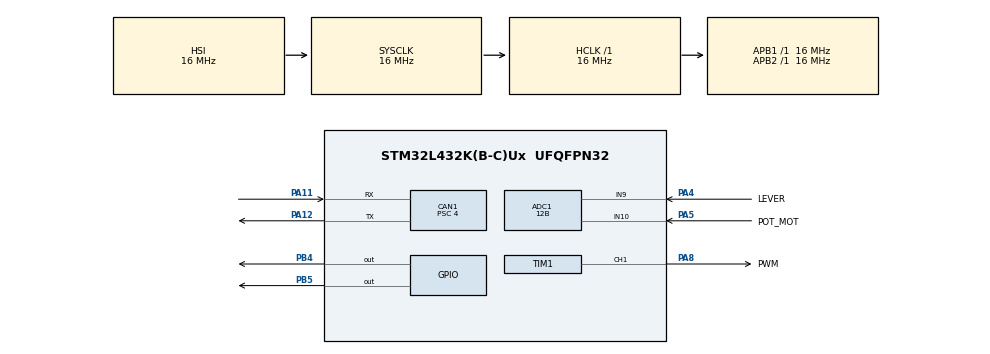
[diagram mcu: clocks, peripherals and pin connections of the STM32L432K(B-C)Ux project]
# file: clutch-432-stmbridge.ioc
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ADC1.Channel-0\#ChannelRegularConversion=ADC_CHANNEL_9
ADC1.Channel-1\#ChannelRegularConversion=ADC_CHANNEL_10
ADC1.ClockPrescaler=ADC_CLOCK_ASYNC_DIV16
ADC1.ContinuousConvMode=ENABLE
ADC1.DMAContinuousRequests=ENABLE
ADC1.DiscontinuousConvMode=DISABLE
ADC1.NbrOfConversion=2
ADC1.NbrOfConversionFlag=1
ADC1.OffsetNumber-0\#ChannelRegularConversion=ADC_OFFSET_NONE
ADC1.OffsetNumber-1\#ChannelRegularConversion=ADC_OFFSET_NONE
ADC1.Rank-0\#ChannelRegularConversion=1
ADC1.Rank-1\#ChannelRegularConversion=2
ADC1.Resolution=ADC_RESOLUTION_12B
ADC1.SamplingTime-0\#ChannelRegularConversion=ADC_SAMPLETIME_92CYCLES_5
ADC1.SamplingTime-1\#ChannelRegularConversion=ADC_SAMPLETIME_92CYCLES_5
ADC1.master=1
CAN1.BS1=CAN_BS1_2TQ
CAN1.CalculateBaudRate=1000000
CAN1.CalculateTimeBit=1000
CAN1.CalculateTimeQuantum=250.0
CAN1.Prescaler=4
Dma.ADC1.0.Direction=DMA_PERIPH_TO_MEMORY
Dma.ADC1.0.Instance=DMA1_Channel1
Dma.ADC1.0.MemDataAlignment=DMA_MDATAALIGN_HALFWORD
Dma.ADC1.0.MemInc=DMA_MINC_ENABLE
Dma.ADC1.0.Mode=DMA_CIRCULAR
Dma.ADC1.0.PeriphDataAlignment=DMA_PDATAALIGN_HALFWORD
Dma.ADC1.0.PeriphInc=DMA_PINC_DISABLE
Dma.ADC1.0.Priority=DMA_PRIORITY_LOW
Dma.Request0=ADC1
Mcu.Family=STM32L4
Mcu.Name=STM32L432K(B-C)Ux
Mcu.Package=UFQFPN32
NVIC.DMA1_Channel1_IRQn=true\:0\:0\:false\:false\:true\:false\:true\:true
NVIC.PriorityGroup=NVIC_PRIORITYGROUP_4
NVIC.TIM1_BRK_TIM15_IRQn=true\:0\:0\:false\:false\:true\:true\:true\:true
NVIC.TIM1_UP_TIM16_IRQn=true\:0\:0\:false\:false\:true\:true\:true\:true
NVIC.TIM7_IRQn=true\:0\:0\:false\:false\:true\:true\:true\:true
PA0.Mode=HSE-External-Clock-Source-for-LittleOrca
PA0.Signal=RCC_CK_IN
PA11.Mode=CAN_Activate
PA11.Signal=CAN1_RX
PA12.Mode=CAN_Activate
PA12.Signal=CAN1_TX
PA4.GPIO_Label=LEVER
PA4.Signal=ADCx_IN9
PA5.GPIO_Label=POT_MOT
PA5.Signal=ADCx_IN10
PA8.GPIO_Label=PWM
PA8.Signal=S_TIM1_CH1
PB4\ (NJTRST).Signal=GPIO_Output
PB5.Signal=GPIO_Output
ProjectManager.HeapSize=0x200
ProjectManager.StackSize=0x400
ProjectManager.TargetToolchain=STM32CubeIDE
RCC.ADCFreq_Value=32000000
RCC.AHBFreq_Value=16000000
RCC.APB1Freq_Value=16000000
RCC.APB1TimFreq_Value=16000000
RCC.APB2Freq_Value=16000000
RCC.APB2TimFreq_Value=16000000
RCC.CortexFreq_Value=16000000
RCC.HCLKFreq_Value=16000000
RCC.HSE_VALUE=8000000
RCC.HSI48_VALUE=48000000
RCC.HSI_VALUE=16000000
RCC.LSE_VALUE=32768
RCC.MSI_VALUE=4000000
RCC.PLLSAI1N=16
RCC.PLLSAI1R=RCC_PLLR_DIV8
RCC.PLLSourceVirtual=RCC_PLLSOURCE_HSI
RCC.SYSCLKFreq_VALUE=16000000
RCC.SYSCLKSource=RCC_SYSCLKSOURCE_HSI
RCC.USBFreq_Value=128000000
RCC.VCOOutputFreq_Value=128000000
SH.ADCx_IN10.0=ADC1_IN10,IN10-Single-Ended
SH.ADCx_IN9.0=ADC1_IN9,IN9-Single-Ended
SH.S_TIM1_CH1.0=TIM1_CH1,PWM Generation1 CH1
TIM1.Channel-PWM\ Generation1\ CH1=TIM_CHANNEL_1
TIM1.Period=100-1
TIM1.Prescaler=20-1
TIM1.Pulse-PWM\ Generation1\ CH1=50
TIM7.Period=10 - 1
TIM7.Prescaler=100 - 1
VP_TIM1_VS_ClockSourceINT.Mode=Internal
VP_TIM7_VS_ClockSourceINT.Mode=Enable_Timer
board=custom

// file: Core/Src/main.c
/* USER CODE BEGIN Header */
/**
  ******************************************************************************
  * @file           : main.c
  * @brief          : Main program body
  ******************************************************************************
  * @attention
  *
  * Copyright (c) 2022 STMicroelectronics.
  * All rights reserved.
  *
  * This software is licensed under terms that can be found in the LICENSE file
  * in the root directory of this software component.
  * If no LICENSE file comes with this software, it is provided AS-IS.
  *
  ******************************************************************************
  */
/* USER CODE END Header */
#include "main.h"

/* USER CODE BEGIN Includes */
#include <stdbool.h>
#include "mmr_can.h"
/* USER CODE END Includes */

/* USER CODE BEGIN PD */
#define POT 1
#define LEVER 0
#define CURRENT 2
/* USER CODE END PD */

 ADC_HandleTypeDef hadc1;
DMA_HandleTypeDef hdma_adc1;

CAN_HandleTypeDef hcan1;

TIM_HandleTypeDef htim1;
TIM_HandleTypeDef htim7;

void SystemClock_Config(void);
static void MX_GPIO_Init(void);
static void MX_DMA_Init(void);
static void MX_ADC1_Init(void);
static void MX_TIM1_Init(void);
static void MX_TIM7_Init(void);
static void MX_CAN1_Init(void);

/* USER CODE BEGIN 0 */
float lever;
float potMot;
float errorPos;
int delay;
int tick;
int releaseFlag;

bool engage = false;
DrivingMode mode = MANUAL;
//PID POSIZIONE
const PIDSaturation saturations1 = {
		min: -0.8f,
		max: 0.8f,
};

const PIDParameters parameters1 = {
	p: 7.53f * 3.0f * 3.0f,
	i: 8.6f * 3.0f,
	d: 1.4f * 1.5f,
};

PID pid1;

const float sampleTime = 1.0f / 80000.0f;
const float tau = 1.0f/14565.0f;

//CLUTCH
const ClutchIndexes indexes = {
	motorPotentiometer: POT,
	lever: LEVER,
	current: CURRENT,
};

Clutch clutch;
int s;
// ADC arrays
AdcValue ADC_values[BUFFER_LENGTH];
/* USER CODE END 0 */

int main(void)
{
  /* USER CODE BEGIN 1 */
	lever = 0;
	potMot = 0;
	errorPos = 0;
	tick = 0;
	releaseFlag = 0;
  /* USER CODE END 1 */

  /* MCU Configuration--------------------------------------------------------*/

  /* Reset of all peripherals, Initializes the Flash interface and the Systick. */
  HAL_Init();

  /* Configure the system clock */
  SystemClock_Config();

  /* Initialize all configured peripherals */
  MX_GPIO_Init();
  MX_DMA_Init();
  MX_ADC1_Init();
  MX_TIM1_Init();
  MX_TIM7_Init();
  MX_CAN1_Init();
  /* USER CODE BEGIN 2 */

  if (MMR_CAN_BasicSetupAndStart(&hcan1) != HAL_OK) {
    Error_Handler();
  }

  pid1 = PIDInit(
	  saturations1,
	  parameters1,
	  sampleTime,
	  tau
  );

  ClutchPID clutchPID = {
	  pid1: &pid1,
  };

  clutch = clutchInit(indexes, clutchPID, ADC_values);
  setDrivingMode(&clutch, mode);

  HAL_ADC_Start_DMA(&hadc1, (uint16_t *)ADC_values, BUFFER_LENGTH);

  HAL_TIM_Base_Start(&htim1); // TIM1 Start
  HAL_TIM_PWM_Start(&htim1, TIM_CHANNEL_1); // PWM Start on TIM1
  HAL_TIM_Base_Start_IT(&htim7); // PID Sampling timer start

  CanRxBuffer buffer = {};
  MmrCanMessage message = {
		  .store = buffer
  };
  uint32_t start = uwTick;

  //HAL_GPIO_WritePin(GPIOB, GPIO_PIN_1, GPIO_PIN_SET);
  /* USER CODE END 2 */

  /* Infinite loop */
  /* USER CODE BEGIN WHILE */
  while (1)
  {
	  /*uint8_t pendingMessages = HAL_CAN_GetRxFifoFillLevel(&hcan1, MMR_CAN_RX_FIFO);

	  if (pendingMessages <= 0) {
		  continue;
	  }

	  if (MMR_CAN_Receive(&hcan1, &message) != HAL_OK) {
		  ;
	  }

	  volatile int id = message.header.messageId;

	  continue;*/
    /* USER CODE END WHILE */

    /* USER CODE BEGIN 3 */

	  MmrCanPacket packetOpenClutch = {
			  .header.messageId = MMR_CAN_MESSAGE_ID_CS_CLUTCH_PULL_OK,
	  };

	  MmrCanPacket packetEngagedClutch = {
			  .header.messageId = MMR_CAN_MESSAGE_ID_CS_CLUTCH_RELEASE_OK,
	  };

	  /*
	  MmrCanPacket packetPulledLever = {
			  .header.messageId = MMR_CAN_MESSAGE_ID_CS_LEVER_PULLED,
	  };
	  */

	  if(clutch.measuredAngle < OPEN_CLUTCH_ANGLE + 0.1f && clutch.inProgress && !engage) {
		  if(clutch.mode == AUTONOMOUS) {
			  MMR_CAN_Send(&hcan1, packetOpenClutch);
			  clutch.inProgress = false;
		  }
	  }

	  if(clutch.measuredAngle > ENGAGED_CLUTCH_ANGLE - 0.1f /*&& clutch.inProgress && engage*/) {
		  if(/*clutch.mode == AUTONOMOUS*/1) {
			  if(releaseFlag<10000){
				  releaseFlag++;
			  } else{
				  MMR_CAN_Send(&hcan1, packetEngagedClutch);
				  clutch.inProgress = false;
				  releaseFlag = 0;
			  }

		  }
	  }

	  /*
	  if(clutch.mode == MANUAL){
		  if(clutch.targetAngle < (OPEN_CLUTCH_ANGLE + ENGAGED_CLUTCH_ANGLE)/2.0f){
			  packetPulledLever.data=(uint8_t*)1;
			  packetPulledLever.length = sizeof((uint8_t*)1);
			  MMR_CAN_Send(&hcan1, packetPulledLever);
		  } else {
			  packetPulledLever.data=(uint8_t*)0;
			  packetPulledLever.length = sizeof((uint8_t*)0);
			  MMR_CAN_Send(&hcan1, packetPulledLever);
		  }

	  }
	  */

	  uint32_t messages = HAL_CAN_GetRxFifoFillLevel(&hcan1, MMR_CAN_RX_FIFO);

	  if(messages > 0) {
		  if(MMR_CAN_Receive(&hcan1, &message) != HAL_OK) {
			  Error_Handler();
		  }

		  switch(message.header.messageId) {
		  	  case MMR_CAN_MESSAGE_ID_CS_CLUTCH_PULL:
				  setDrivingMode(&clutch, AUTONOMOUS);
				  engage = false;
				  clutch.inProgress = true;
		  		  break;

		  	  case MMR_CAN_MESSAGE_ID_CS_CLUTCH_RELEASE:
				  setDrivingMode(&clutch, AUTONOMOUS);
				  engage = true;
				  clutch.inProgress = true;
		  		  break;

		  	  case MMR_CAN_MESSAGE_ID_CS_CLUTCH_SET_MANUAL:
				  setDrivingMode(&clutch, MANUAL);
				  clutch.inProgress = false;
		  		  break;
		  }

	  }

	  potMot = clutch.measuredAngle;
	  lever = clutch.targetAngle;
  }
  /* USER CODE END 3 */
}

void SystemClock_Config(void)
{
  RCC_OscInitTypeDef RCC_OscInitStruct = {0};
  RCC_ClkInitTypeDef RCC_ClkInitStruct = {0};

  /** Configure the main internal regulator output voltage
  */
  if (HAL_PWREx_ControlVoltageScaling(PWR_REGULATOR_VOLTAGE_SCALE1) != HAL_OK)
  {
    Error_Handler();
  }

  /** Initializes the RCC Oscillators according to the specified parameters
  * in the RCC_OscInitTypeDef structure.
  */
  RCC_OscInitStruct.OscillatorType = RCC_OSCILLATORTYPE_HSI;
  RCC_OscInitStruct.HSIState = RCC_HSI_ON;
  RCC_OscInitStruct.HSICalibrationValue = RCC_HSICALIBRATION_DEFAULT;
  RCC_OscInitStruct.PLL.PLLState = RCC_PLL_NONE;
  if (HAL_RCC_OscConfig(&RCC_OscInitStruct) != HAL_OK)
  {
    Error_Handler();
  }

  /** Initializes the CPU, AHB and APB buses clocks
  */
  RCC_ClkInitStruct.ClockType = RCC_CLOCKTYPE_HCLK|RCC_CLOCKTYPE_SYSCLK
                              |RCC_CLOCKTYPE_PCLK1|RCC_CLOCKTYPE_PCLK2;
  RCC_ClkInitStruct.SYSCLKSource = RCC_SYSCLKSOURCE_HSI;
  RCC_ClkInitStruct.AHBCLKDivider = RCC_SYSCLK_DIV1;
  RCC_ClkInitStruct.APB1CLKDivider = RCC_HCLK_DIV1;
  RCC_ClkInitStruct.APB2CLKDivider = RCC_HCLK_DIV1;

  if (HAL_RCC_ClockConfig(&RCC_ClkInitStruct, FLASH_LATENCY_0) != HAL_OK)
  {
    Error_Handler();
  }
}

static void MX_ADC1_Init(void)
{

  ADC_ChannelConfTypeDef sConfig = {0};

  /** Common config
  */
  hadc1.Instance = ADC1;
  hadc1.Init.ClockPrescaler = ADC_CLOCK_ASYNC_DIV16;
  hadc1.Init.Resolution = ADC_RESOLUTION_12B;
  hadc1.Init.DataAlign = ADC_DATAALIGN_RIGHT;
  hadc1.Init.ScanConvMode = ADC_SCAN_ENABLE;
  hadc1.Init.EOCSelection = ADC_EOC_SINGLE_CONV;
  hadc1.Init.LowPowerAutoWait = DISABLE;
  hadc1.Init.ContinuousConvMode = ENABLE;
  hadc1.Init.NbrOfConversion = 2;
  hadc1.Init.DiscontinuousConvMode = DISABLE;
  hadc1.Init.ExternalTrigConv = ADC_SOFTWARE_START;
  hadc1.Init.ExternalTrigConvEdge = ADC_EXTERNALTRIGCONVEDGE_NONE;
  hadc1.Init.DMAContinuousRequests = ENABLE;
  hadc1.Init.Overrun = ADC_OVR_DATA_PRESERVED;
  hadc1.Init.OversamplingMode = DISABLE;
  if (HAL_ADC_Init(&hadc1) != HAL_OK)
  {
    Error_Handler();
  }

  /** Configure Regular Channel
  */
  sConfig.Channel = ADC_CHANNEL_6;
  sConfig.Rank = ADC_REGULAR_RANK_1;
  sConfig.SamplingTime = ADC_SAMPLETIME_92CYCLES_5;
  sConfig.SingleDiff = ADC_SINGLE_ENDED;
  sConfig.OffsetNumber = ADC_OFFSET_NONE;
  sConfig.Offset = 0;
  if (HAL_ADC_ConfigChannel(&hadc1, &sConfig) != HAL_OK)
  {
    Error_Handler();
  }

  /** Configure Regular Channel
  */
  sConfig.Channel = ADC_CHANNEL_10;
  sConfig.Rank = ADC_REGULAR_RANK_2;
  if (HAL_ADC_ConfigChannel(&hadc1, &sConfig) != HAL_OK)
  {
    Error_Handler();
  }

}

static void MX_CAN1_Init(void)
{

  hcan1.Instance = CAN1;
  hcan1.Init.Prescaler = 4;
  hcan1.Init.Mode = CAN_MODE_NORMAL;
  hcan1.Init.SyncJumpWidth = CAN_SJW_1TQ;
  hcan1.Init.TimeSeg1 = CAN_BS1_2TQ;
  hcan1.Init.TimeSeg2 = CAN_BS2_1TQ;
  hcan1.Init.TimeTriggeredMode = DISABLE;
  hcan1.Init.AutoBusOff = DISABLE;
  hcan1.Init.AutoWakeUp = DISABLE;
  hcan1.Init.AutoRetransmission = DISABLE;
  hcan1.Init.ReceiveFifoLocked = DISABLE;
  hcan1.Init.TransmitFifoPriority = DISABLE;
  if (HAL_CAN_Init(&hcan1) != HAL_OK)
  {
    Error_Handler();
  }

}

static void MX_TIM1_Init(void)
{

  TIM_ClockConfigTypeDef sClockSourceConfig = {0};
  TIM_MasterConfigTypeDef sMasterConfig = {0};
  TIM_OC_InitTypeDef sConfigOC = {0};
  TIM_BreakDeadTimeConfigTypeDef sBreakDeadTimeConfig = {0};

  htim1.Instance = TIM1;
  htim1.Init.Prescaler = 20-1;
  htim1.Init.CounterMode = TIM_COUNTERMODE_UP;
  htim1.Init.Period = 100-1;
  htim1.Init.ClockDivision = TIM_CLOCKDIVISION_DIV1;
  htim1.Init.RepetitionCounter = 0;
  htim1.Init.AutoReloadPreload = TIM_AUTORELOAD_PRELOAD_DISABLE;
  if (HAL_TIM_Base_Init(&htim1) != HAL_OK)
  {
    Error_Handler();
  }
  sClockSourceConfig.ClockSource = TIM_CLOCKSOURCE_INTERNAL;
  if (HAL_TIM_ConfigClockSource(&htim1, &sClockSourceConfig) != HAL_OK)
  {
    Error_Handler();
  }
  if (HAL_TIM_PWM_Init(&htim1) != HAL_OK)
  {
    Error_Handler();
  }
  sMasterConfig.MasterOutputTrigger = TIM_TRGO_RESET;
  sMasterConfig.MasterOutputTrigger2 = TIM_TRGO2_RESET;
  sMasterConfig.MasterSlaveMode = TIM_MASTERSLAVEMODE_DISABLE;
  if (HAL_TIMEx_MasterConfigSynchronization(&htim1, &sMasterConfig) != HAL_OK)
  {
    Error_Handler();
  }
  sConfigOC.OCMode = TIM_OCMODE_PWM1;
  sConfigOC.Pulse = 50;
  sConfigOC.OCPolarity = TIM_OCPOLARITY_HIGH;
  sConfigOC.OCNPolarity = TIM_OCNPOLARITY_HIGH;
  sConfigOC.OCFastMode = TIM_OCFAST_DISABLE;
  sConfigOC.OCIdleState = TIM_OCIDLESTATE_RESET;
  sConfigOC.OCNIdleState = TIM_OCNIDLESTATE_RESET;
  if (HAL_TIM_PWM_ConfigChannel(&htim1, &sConfigOC, TIM_CHANNEL_1) != HAL_OK)
  {
    Error_Handler();
  }
  sBreakDeadTimeConfig.OffStateRunMode = TIM_OSSR_DISABLE;
  sBreakDeadTimeConfig.OffStateIDLEMode = TIM_OSSI_DISABLE;
  sBreakDeadTimeConfig.LockLevel = TIM_LOCKLEVEL_OFF;
  sBreakDeadTimeConfig.DeadTime = 0;
  sBreakDeadTimeConfig.BreakState = TIM_BREAK_DISABLE;
  sBreakDeadTimeConfig.BreakPolarity = TIM_BREAKPOLARITY_HIGH;
  sBreakDeadTimeConfig.BreakFilter = 0;
  sBreakDeadTimeConfig.Break2State = TIM_BREAK2_DISABLE;
  sBreakDeadTimeConfig.Break2Polarity = TIM_BREAK2POLARITY_HIGH;
  sBreakDeadTimeConfig.Break2Filter = 0;
  sBreakDeadTimeConfig.AutomaticOutput = TIM_AUTOMATICOUTPUT_DISABLE;
  if (HAL_TIMEx_ConfigBreakDeadTime(&htim1, &sBreakDeadTimeConfig) != HAL_OK)
  {
    Error_Handler();
  }
  HAL_TIM_MspPostInit(&htim1);

}

static void MX_TIM7_Init(void)
{

  TIM_MasterConfigTypeDef sMasterConfig = {0};

  htim7.Instance = TIM7;
  htim7.Init.Prescaler = 100 - 1;
  htim7.Init.CounterMode = TIM_COUNTERMODE_UP;
  htim7.Init.Period = 10 - 1;
  htim7.Init.AutoReloadPreload = TIM_AUTORELOAD_PRELOAD_DISABLE;
  if (HAL_TIM_Base_Init(&htim7) != HAL_OK)
  {
    Error_Handler();
  }
  sMasterConfig.MasterOutputTrigger = TIM_TRGO_RESET;
  sMasterConfig.MasterSlaveMode = TIM_MASTERSLAVEMODE_DISABLE;
  if (HAL_TIMEx_MasterConfigSynchronization(&htim7, &sMasterConfig) != HAL_OK)
  {
    Error_Handler();
  }

}

static void MX_DMA_Init(void)
{

  /* DMA controller clock enable */
  __HAL_RCC_DMA1_CLK_ENABLE();

  /* DMA interrupt init */
  /* DMA1_Channel1_IRQn interrupt configuration */
  HAL_NVIC_SetPriority(DMA1_Channel1_IRQn, 0, 0);
  HAL_NVIC_EnableIRQ(DMA1_Channel1_IRQn);

}

static void MX_GPIO_Init(void)
{
  GPIO_InitTypeDef GPIO_InitStruct = {0};

  /* GPIO Ports Clock Enable */
  __HAL_RCC_GPIOA_CLK_ENABLE();
  __HAL_RCC_GPIOB_CLK_ENABLE();

  /*Configure GPIO pin Output Level */
  HAL_GPIO_WritePin(GPIOB, GPIO_PIN_4|GPIO_PIN_5, GPIO_PIN_RESET);

  /*Configure GPIO pins : PB4 PB5 */
  GPIO_InitStruct.Pin = GPIO_PIN_4|GPIO_PIN_5;
  GPIO_InitStruct.Mode = GPIO_MODE_OUTPUT_PP;
  GPIO_InitStruct.Pull = GPIO_NOPULL;
  GPIO_InitStruct.Speed = GPIO_SPEED_FREQ_LOW;
  HAL_GPIO_Init(GPIOB, &GPIO_InitStruct);

}

void Error_Handler(void)
{
  __disable_irq();
  while (1)
  {
  }
}
